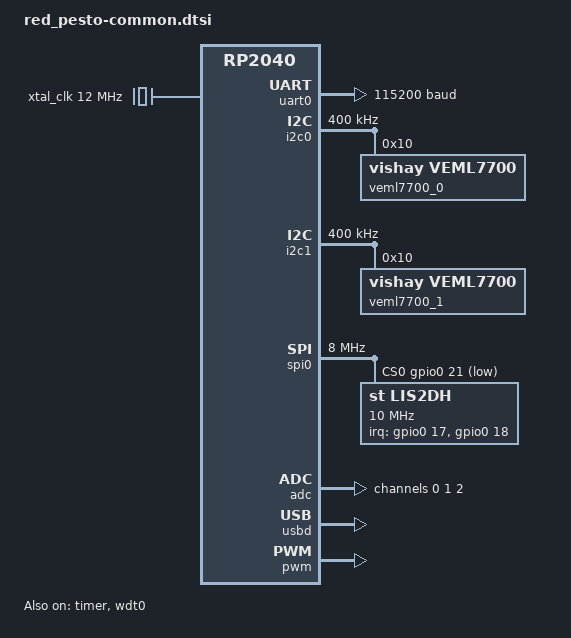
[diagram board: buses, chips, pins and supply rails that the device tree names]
/*
 * Copyright (c) 2021 Yonatan Schachter
 *
 * SPDX-License-Identifier: Apache-2.0
 */

#include <freq.h>

#include <rpi_pico/rp2040.dtsi>
#include "red_pesto-pinctrl.dtsi"
#include <zephyr/dt-bindings/pwm/pwm.h>

#include <zephyr/dt-bindings/i2c/i2c.h>


/ {
	chosen {
		zephyr,sram = &sram0;
		zephyr,flash = &flash0;
		zephyr,flash-controller = &ssi;
		zephyr,console = &uart0;
		zephyr,shell-uart = &uart0;
		zephyr,code-partition = &code_partition;
	};

	xtal_clk: xtal-clk {
		compatible = "fixed-clock";
		clock-frequency = <12000000>;
		#clock-cells = <0>;
	};

	aliases {
		watchdog0 = &wdt0;
		veml7700-left = &veml7700_0;
		veml7700-right = &veml7700_1;
	};
};

&flash0 {
	reg = <0x10000000 DT_SIZE_M(2)>;

	partitions {
		compatible = "fixed-partitions";
		#address-cells = <1>;
		#size-cells = <1>;

		/* Reserved memory for the second stage bootloader */
		second_stage_bootloader: partition@0 {
			label = "second_stage_bootloader";
			reg = <0x00000000 0x100>;
			read-only;
		};

		/*
		 * Usable flash. Starts at 0x100, after the bootloader. The partition
		 * size is 2MB minus the 0x100 bytes taken by the bootloader.
		 */
		code_partition: partition@100 {
			label = "code-partition";
			reg = <0x100 (DT_SIZE_M(2) - 0x100)>;
			read-only;
		};
	};
};

&uart0 {
	current-speed = <115200>;
	status = "okay";
	pinctrl-0 = <&uart0_default>;
	pinctrl-names = "default";
};

&gpio0 {
	status = "okay";
};

&i2c0 {
	clock-frequency = <I2C_BITRATE_FAST>;
	status = "okay";
	pinctrl-0 = <&i2c0_rp>;
	pinctrl-names = "default";
	veml7700_0: veml7700_0@10 {
		compatible = "vishay,veml7700";
		reg = <0x10>;
		status = "okay";
	};
};

&i2c1 {
	clock-frequency = <I2C_BITRATE_FAST>;
	status = "okay";
	pinctrl-0 = <&i2c1_rp>;
	pinctrl-names = "default";
	veml7700_1: veml7700_1@10 {
		compatible = "vishay,veml7700";
		reg = <0x10>;
		status = "okay";
	};
};

&spi0 {
	clock-frequency = <DT_FREQ_M(8)>;
	cs-gpios = <&gpio0 21 GPIO_ACTIVE_LOW>;
	status = "okay";
	pinctrl-0 = <&spi0_default>;
	pinctrl-names = "default";
	lis2dh: lis2dh@0 {
		compatible = "st,lis2dh";
		reg = <0>;
		spi-max-frequency = <10000000>;
		spi-cpol;
		spi-cpha;
		irq-gpios = <&gpio0 17 GPIO_ACTIVE_HIGH>, <&gpio0 18 GPIO_ACTIVE_HIGH>;
	};
};

&timer {
	status = "okay";
};

&wdt0 {
	status = "okay";
};

&adc {
	status = "okay";
	pinctrl-0 = <&adc_default>;
	pinctrl-names = "default";
	#address-cells = <1>;
	#size-cells = <0>;

	channel@0 {
		reg = <0>;
		zephyr,gain = "ADC_GAIN_1";
		zephyr,reference = "ADC_REF_INTERNAL";
		zephyr,acquisition-time = <ADC_ACQ_TIME_DEFAULT>;
		zephyr,resolution = <12>;
	};

	channel@1 {
		reg = <1>;
		zephyr,gain = "ADC_GAIN_1";
		zephyr,reference = "ADC_REF_INTERNAL";
		zephyr,acquisition-time = <ADC_ACQ_TIME_DEFAULT>;
		zephyr,resolution = <12>;
	};

	channel@2 {
		reg = <2>;
		zephyr,gain = "ADC_GAIN_1";
		zephyr,reference = "ADC_REF_INTERNAL";
		zephyr,acquisition-time = <ADC_ACQ_TIME_DEFAULT>;
		zephyr,resolution = <12>;
	};
};

zephyr_udc0: &usbd {
	status = "okay";
};

&pwm {
	status = "okay";
	pinctrl-0 = <&pwm_ch6b_default>;
	pinctrl-names = "default";
	divider-frac-6 = <0>;
	divider-int-6 = <16>;
};

&vreg {
	regulator-always-on;
	regulator-allowed-modes = <REGULATOR_RPI_PICO_MODE_NORMAL>;
};

pico_spi: &spi0 {};
